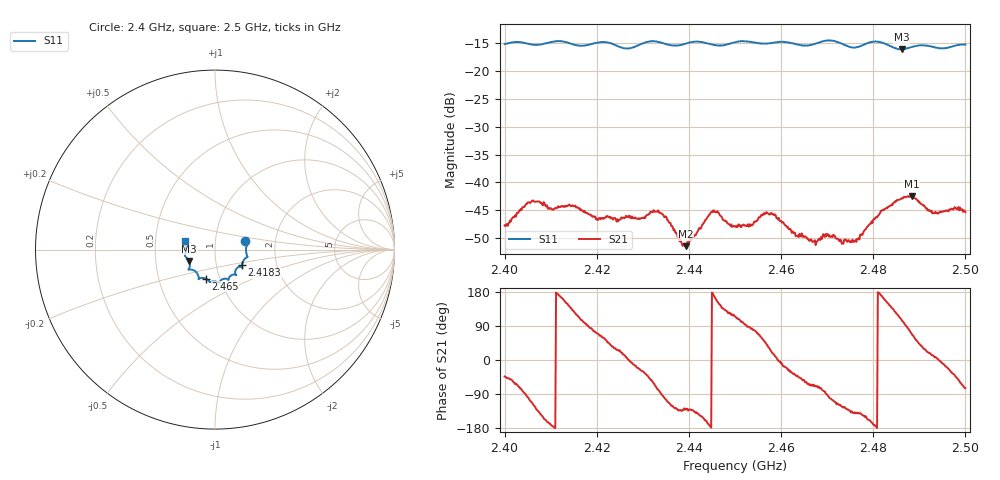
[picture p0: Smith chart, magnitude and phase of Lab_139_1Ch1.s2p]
# Hz S RI R 50
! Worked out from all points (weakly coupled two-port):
!   601 points, 2.4 GHz to 2.5 GHz, reference 50 ohm
!   highest |S21| = -42.45 dB at 2.4883 GHz (marker M1); lowest = -51.5 dB at 2.4393 GHz (marker M2)
!   lowest |S11| = -16.1 dB at 2.4862 GHz (marker M3), VSWR 1.37, Z = 37.1 - j4.81 ohm
!   |S11| at or under -10 dB: start of sweep to end of sweep
!   S12 and S22 are empty: the file has one direction only
!   S11 on the Smith chart (normalised r, x): 2.4 GHz: 1.40, +0.13; 2.4183 GHz: 1.33, -0.24; 2.465 GHz: 0.86, -0.29; 2.5 GHz: 0.71, +0.07
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2.4e9  0.1693 0.0459  0.00297 -0.00282  0 0  0 0
2.405667e9  0.1741 0.0127  -0.00212 -0.00625  0 0  0 0
2.411833e9  0.1819 -0.041  -0.00591 0.000971  0 0  0 0
2.416667e9  0.1551 -0.0679  -0.0015 0.00549  0 0  0 0
2.418333e9  0.15 -0.0871  0.00029 0.00514  0 0  0 0
2.424667e9  0.1374 -0.0954  0.00403 0.00196  0 0  0 0
2.433333e9  0.1175 -0.1408  0.00115 -0.00548  0 0  0 0
2.439333e9  0.0771 -0.1596  -0.00175 -0.00202  0 0  0 0
2.445167e9  0.0606 -0.1621  -0.0054 0.000375  0 0  0 0
2.45e9  0.0255 -0.1808  -0.00171 0.00364  0 0  0 0
2.4535e9  0.0172 -0.1824  0.000539 0.00415  0 0  0 0
2.457333e9  -0.0126 -0.1777  0.00438 0.0028  0 0  0 0
2.465e9  -0.0522 -0.1619  0.00195 -0.00258  0 0  0 0
2.466667e9  -0.0713 -0.1576  0.00117 -0.00273  0 0  0 0
2.469667e9  -0.0916 -0.1642  0.00012 -0.00343  0 0  0 0
2.476167e9  -0.112 -0.1191  -0.00234 -0.00192  0 0  0 0
2.480167e9  -0.1476 -0.111  -0.00467 -0.000647  0 0  0 0
2.483333e9  -0.1414 -0.0964  -0.0051 0.00321  0 0  0 0
2.486167e9  -0.144 -0.0631  -0.0019 0.00696  0 0  0 0
2.488333e9  -0.1589 -0.0444  0.00266 0.00706  0 0  0 0
2.493333e9  -0.1632 -0.0166  0.00526 0.000637  0 0  0 0
2.5e9  -0.1673 0.0471  0.00145 -0.00521  0 0  0 0
